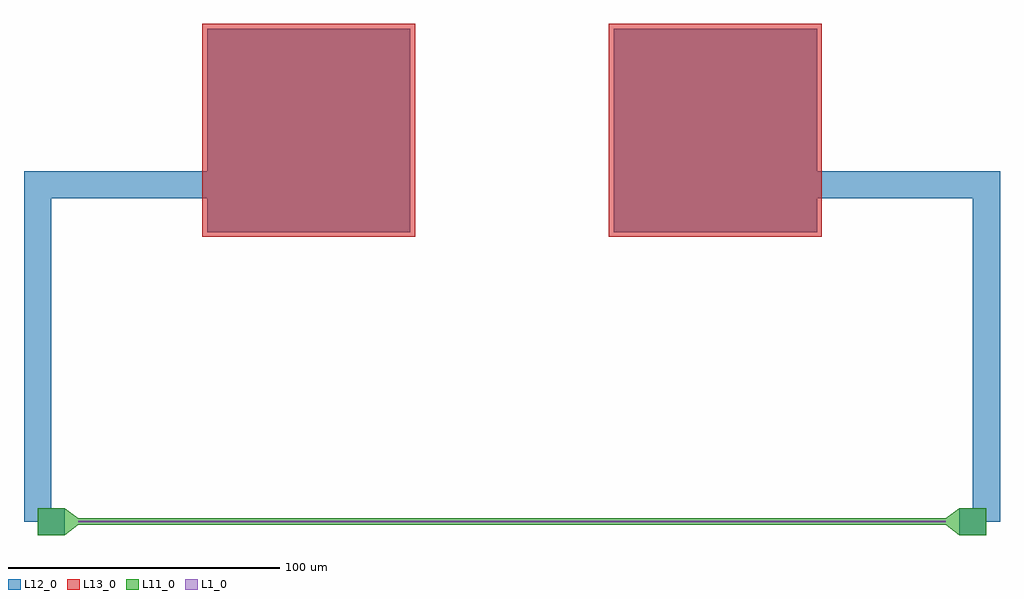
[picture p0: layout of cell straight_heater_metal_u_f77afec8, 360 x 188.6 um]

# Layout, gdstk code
from math import pi, radians
import gdstk
lib = gdstk.Library(unit=1e-6, precision=1e-09)
def R(c, l, rs):  # rectangles x0, y0, x1, y1
    for r in rs: c.add(gdstk.rectangle(r[:2], r[2:], *l))
def P(c, l, *ps):  # polygons
    for p in ps: c.add(gdstk.Polygon(p, *l))
L1_0 = (1, 0)
L11_0 = (11, 0)
L12_0 = (12, 0)
L13_0 = (13, 0)

straight_5d4d7dae = lib.new_cell('straight_5d4d7dae')
R(straight_5d4d7dae, L1_0, [(0,-0.25,16,0.25)])
R(straight_5d4d7dae, L11_0, [(0,-1.25,16,1.25)])

straight_5bda7d4a = lib.new_cell('straight_5bda7d4a')
R(straight_5bda7d4a, L1_0, [(0,-0.25,30,0.25)])
R(straight_5bda7d4a, L11_0, [(0,-1.25,30,1.25)])

straight_e9dcc997 = lib.new_cell('straight_e9dcc997')
R(straight_e9dcc997, L1_0, [(0,-0.25,6,0.25)])
R(straight_e9dcc997, L11_0, [(0,-1.25,6,1.25)])

component_sequence_ff4b4 = lib.new_cell('component_sequence_ff4b4dfd')
component_sequence_ff4b4.add(gdstk.Reference(straight_5d4d7dae, (0,0)))
component_sequence_ff4b4.add(gdstk.Reference(straight_5bda7d4a, (16,0)))
component_sequence_ff4b4.add(gdstk.Reference(straight_e9dcc997, (46,0)))
component_sequence_ff4b4.add(gdstk.Reference(straight_5bda7d4a, (52,0)))
component_sequence_ff4b4.add(gdstk.Reference(straight_e9dcc997, (82,0)))
component_sequence_ff4b4.add(gdstk.Reference(straight_5bda7d4a, (88,0)))
component_sequence_ff4b4.add(gdstk.Reference(straight_e9dcc997, (118,0)))
component_sequence_ff4b4.add(gdstk.Reference(straight_5bda7d4a, (124,0)))
component_sequence_ff4b4.add(gdstk.Reference(straight_e9dcc997, (154,0)))
component_sequence_ff4b4.add(gdstk.Reference(straight_5bda7d4a, (160,0)))
component_sequence_ff4b4.add(gdstk.Reference(straight_e9dcc997, (190,0)))
component_sequence_ff4b4.add(gdstk.Reference(straight_5bda7d4a, (196,0)))
component_sequence_ff4b4.add(gdstk.Reference(straight_e9dcc997, (226,0)))
component_sequence_ff4b4.add(gdstk.Reference(straight_5bda7d4a, (232,0)))
component_sequence_ff4b4.add(gdstk.Reference(straight_e9dcc997, (262,0)))
component_sequence_ff4b4.add(gdstk.Reference(straight_5bda7d4a, (268,0)))
component_sequence_ff4b4.add(gdstk.Reference(straight_e9dcc997, (298,0)))
component_sequence_ff4b4.add(gdstk.Reference(straight_5d4d7dae, (304,0)))

compass_0311d156 = lib.new_cell('compass_0311d156')
R(compass_0311d156, L11_0, [(-5,-5,5,5)])

compass_9fe0e483 = lib.new_cell('compass_9fe0e483')
R(compass_9fe0e483, L12_0, [(-5,-5,5,5)])

via_stack_627f28a4 = lib.new_cell('via_stack_627f28a4')
via_stack_627f28a4.add(gdstk.Reference(compass_0311d156, (0,0)))
via_stack_627f28a4.add(gdstk.Reference(compass_9fe0e483, (0,0)))

taper_c0b2abe2 = lib.new_cell('taper_c0b2abe2')
P(taper_c0b2abe2, L11_0, [(0,5),(5,1.25),(5,-1.25),(0,-5)])

straight_heater_metal_u_ = lib.new_cell('straight_heater_metal_u_5d466884')
straight_heater_metal_u_.add(gdstk.Reference(component_sequence_ff4b4, (0,0)))
straight_heater_metal_u_.add(gdstk.Reference(via_stack_627f28a4, (-10,0)))
straight_heater_metal_u_.add(gdstk.Reference(via_stack_627f28a4, (330,0)))
straight_heater_metal_u_.add(gdstk.Reference(taper_c0b2abe2, (-5,0)))
straight_heater_metal_u_.add(gdstk.Reference(taper_c0b2abe2, (325,0), rotation=pi))

compass_1ed2a460 = lib.new_cell('compass_1ed2a460')
R(compass_1ed2a460, L12_0, [(-37.5,-37.5,37.5,37.5)])

compass_73f599e5 = lib.new_cell('compass_73f599e5')
R(compass_73f599e5, L13_0, [(-39.3,-39.3,39.3,39.3)])

pad_f2c8bc83 = lib.new_cell('pad_f2c8bc83')
pad_f2c8bc83.add(gdstk.Reference(compass_1ed2a460, (0,0)))
pad_f2c8bc83.add(gdstk.Reference(compass_73f599e5, (0,0)))

pad_array_columns2 = lib.new_cell('pad_array_columns2')
r = gdstk.Reference(pad_f2c8bc83, (0,0)); r.repetition = gdstk.Repetition(2, 1, v1=(150,0), v2=(0,150)); pad_array_columns2.add(r)

wire_corner = lib.new_cell('wire_corner')
R(wire_corner, L12_0, [(-5,-5,5,5)])

straight_b35cd6ac = lib.new_cell('straight_b35cd6ac')
R(straight_b35cd6ac, L12_0, [(0,-5,119.3,5)])

straight_3a5030a7 = lib.new_cell('straight_3a5030a7')
R(straight_3a5030a7, L12_0, [(0,-5,90,5)])

straight_711ec1b4 = lib.new_cell('straight_711ec1b4')
R(straight_711ec1b4, L12_0, [(0,-5,15,5)])

c_straight_heater_metal_u_ = lib.new_cell('straight_heater_metal_u_f77afec8')
c_straight_heater_metal_u_.add(gdstk.Reference(straight_heater_metal_u_, (0,0)))
c_straight_heater_metal_u_.add(gdstk.Reference(pad_array_columns2, (85,144.3)))
c_straight_heater_metal_u_.add(gdstk.Reference(wire_corner, (-15,124.3), rotation=pi/2, x_reflection=True))
c_straight_heater_metal_u_.add(gdstk.Reference(wire_corner, (85,124.3)))
c_straight_heater_metal_u_.add(gdstk.Reference(straight_b35cd6ac, (-15,0), rotation=pi/2))
c_straight_heater_metal_u_.add(gdstk.Reference(straight_3a5030a7, (-10,124.3)))
c_straight_heater_metal_u_.add(gdstk.Reference(straight_711ec1b4, (85,129.3), rotation=pi/2))
c_straight_heater_metal_u_.add(gdstk.Reference(wire_corner, (335,124.3), rotation=pi/2))
c_straight_heater_metal_u_.add(gdstk.Reference(wire_corner, (235,124.3), rotation=pi, x_reflection=True))
c_straight_heater_metal_u_.add(gdstk.Reference(straight_b35cd6ac, (335,0), rotation=pi/2))
c_straight_heater_metal_u_.add(gdstk.Reference(straight_3a5030a7, (330,124.3), rotation=pi))
c_straight_heater_metal_u_.add(gdstk.Reference(straight_711ec1b4, (235,129.3), rotation=pi/2))

lib.write_gds('straight_heater_metal_u_f77afec8.gds')
